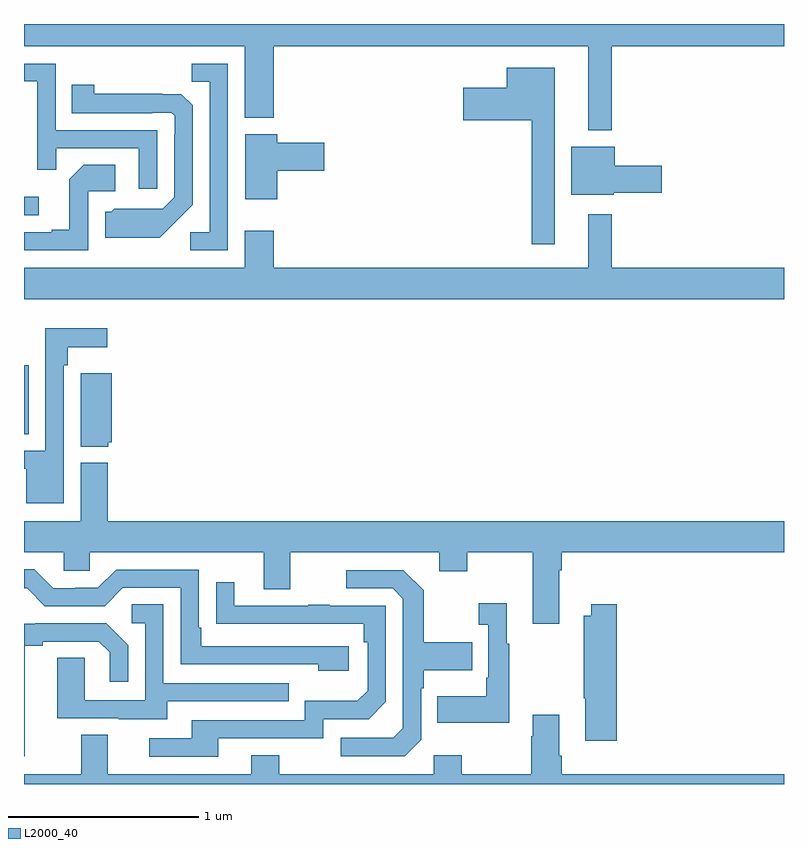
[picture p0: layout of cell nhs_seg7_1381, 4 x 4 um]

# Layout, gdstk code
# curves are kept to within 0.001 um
import gdstk
lib = gdstk.Library(unit=1e-6, precision=1e-09)
def R(c, l, rs):  # rectangles x0, y0, x1, y1
    for r in rs: c.add(gdstk.rectangle(r[:2], r[2:], *l))
def P(c, l, *ps):  # polygons
    for p in ps: c.add(gdstk.Polygon(p, *l))
L2000_40 = (2000, 40)

nhs_seg7_1381 = lib.new_cell('nhs_seg7_1381')
R(nhs_seg7_1381, L2000_40, [(205,1063.84,205.024,1064.203), (205,1064.994,205.078,1065.091)])
P(nhs_seg7_1381, L2000_40, [(208.093,1065.884),(209,1065.884),(209,1066),(205,1066),(205,1065.884),(206.162,1065.884),(206.162,1065.506),(206.315,1065.506),(206.315,1065.884),(207.971,1065.884),(207.971,1065.44),(208.093,1065.44)],
  [(205.701,1065.441),(205.167,1065.441),(205.167,1065.792),(205,1065.792),(205,1065.699),(205.071,1065.699),(205.071,1065.232),(205.169,1065.232),(205.169,1065.345),(205.605,1065.345),(205.605,1065.132),(205.701,1065.132)],
  [(206.073,1065.792),(205.882,1065.792),(205.882,1065.697),(205.977,1065.697),(205.977,1064.904),(205.875,1064.904),(205.875,1064.808),(206.073,1064.808)],
  [(207.793,1065.769),(207.542,1065.769),(207.542,1065.664),(207.312,1065.664),(207.312,1065.494),(207.672,1065.494),(207.672,1064.841),(207.793,1064.841)],
  [(205.795,1064.957),(205.887,1065.05),(205.887,1065.572),(205.828,1065.631),(205.371,1065.632),(205.371,1065.679),(205.252,1065.679),(205.252,1065.531),(205.676,1065.531),(205.676,1065.534),(205.776,1065.534),(205.794,1065.516),(205.794,1065.416),(205.791,1065.416),(205.791,1065.087),(205.731,1065.027),(205.474,1065.028),(205.458,1065.012),(205.427,1065.012),(205.427,1064.876),(205.715,1064.876)],
  [(206.332,1065.227),(206.581,1065.227),(206.581,1065.374),(206.332,1065.374),(206.332,1065.421),(206.165,1065.421),(206.165,1065.078),(206.332,1065.078)],
  [(208.104,1065.112),(208.357,1065.112),(208.357,1065.254),(208.108,1065.254),(208.108,1065.355),(207.881,1065.355),(207.881,1065.101),(208.104,1065.101)],
  [(205.338,1065.12),(205.48,1065.12),(205.48,1065.26),(205.315,1065.26),(205.239,1065.184),(205.239,1064.917),(205.145,1064.917),(205.145,1064.904),(205,1064.904),(205,1064.808),(205.338,1064.808)],
  [(209,1064.716),(208.093,1064.716),(208.093,1064.998),(207.971,1064.998),(207.971,1064.716),(206.315,1064.716),(206.315,1064.911),(206.162,1064.911),(206.162,1064.716),(205,1064.716),(205,1064.552),(209,1064.552)],
  [(205.209,1064.204),(205.229,1064.204),(205.229,1064.3),(205.438,1064.3),(205.438,1064.398),(205.113,1064.398),(205.113,1063.755),(205,1063.755),(205,1063.659),(205.013,1063.659),(205.013,1063.478),(205.209,1063.478)],
  [(205.443,1063.8),(205.462,1063.8),(205.462,1064.161),(205.298,1064.161),(205.298,1063.775),(205.443,1063.775)],
  [(207.817,1063.124),(207.83,1063.124),(207.83,1063.22),(209,1063.22),(209,1063.384),(205.442,1063.384),(205.442,1063.69),(205.298,1063.69),(205.298,1063.384),(205,1063.384),(205,1063.22),(205.209,1063.22),(205.209,1063.122),(205.347,1063.122),(205.347,1063.22),(206.261,1063.22),(206.261,1063.026),(206.401,1063.026),(206.401,1063.22),(207.185,1063.22),(207.185,1063.121),(207.333,1063.121),(207.333,1063.22),(207.677,1063.22),(207.677,1062.843),(207.817,1062.843)],
  [(206.71,1062.726),(205.933,1062.726),(205.933,1062.823),(205.92,1062.823),(205.92,1063.128),(205.485,1063.128),(205.389,1063.032),(205.271,1063.032),(205.271,1063.029),(205.155,1063.029),(205.055,1063.129),(205,1063.129),(205,1063.029),(205.017,1063.029),(205.11,1062.936),(205.425,1062.936),(205.521,1063.032),(205.824,1063.032),(205.824,1062.63),(206.549,1062.63),(206.549,1062.596),(206.71,1062.596)],
  [(207.09,1062.234),(207.09,1062.503),(207.103,1062.503),(207.103,1062.599),(207.359,1062.599),(207.359,1062.747),(207.103,1062.747),(207.103,1063.019),(206.997,1063.125),(206.697,1063.125),(206.697,1063.029),(206.94,1063.029),(206.994,1062.975),(206.994,1062.294),(206.943,1062.243),(206.667,1062.243),(206.667,1062.147),(207.003,1062.147)],
  [(206.023,1062.24),(206.574,1062.24),(206.574,1062.342),(206.814,1062.342),(206.904,1062.432),(206.904,1062.939),(206.609,1062.939),(206.609,1062.944),(206.497,1062.944),(206.497,1062.939),(206.107,1062.939),(206.107,1063.063),(206.011,1063.063),(206.011,1062.844),(206.788,1062.843),(206.788,1062.746),(206.808,1062.746),(206.808,1062.492),(206.755,1062.439),(206.478,1062.439),(206.478,1062.336),(205.883,1062.336),(205.883,1062.24),(205.659,1062.24),(205.659,1062.144),(206.023,1062.144)],
  [(207.553,1062.739),(207.541,1062.739),(207.541,1062.952),(207.393,1062.952),(207.393,1062.839),(207.444,1062.839),(207.444,1062.559),(207.432,1062.559),(207.432,1062.463),(207.175,1062.463),(207.175,1062.323),(207.553,1062.323)],
  [(205.753,1062.435),(206.393,1062.435),(206.393,1062.531),(205.734,1062.531),(205.734,1062.947),(205.566,1062.947),(205.566,1062.846),(205.638,1062.846),(205.638,1062.441),(205.32,1062.441),(205.32,1062.665),(205.175,1062.665),(205.175,1062.345),(205.499,1062.345),(205.499,1062.341),(205.753,1062.341)],
  [(208.121,1062.946),(207.986,1062.946),(207.986,1062.886),(207.946,1062.886),(207.946,1062.451),(207.953,1062.451),(207.953,1062.228),(208.121,1062.228)],
  [(205.003,1062.728),(205.099,1062.728),(205.099,1062.75),(205.394,1062.75),(205.451,1062.693),(205.451,1062.537),(205.548,1062.537),(205.548,1062.73),(205.432,1062.846),(205.06,1062.846),(205.06,1062.843),(205,1062.843),(205,1062.147),(205.003,1062.147)],
  [(209,1062.052),(207.83,1062.052),(207.83,1062.148),(207.817,1062.148),(207.817,1062.364),(207.677,1062.364),(207.677,1062.251),(207.67,1062.251),(207.67,1062.052),(207.303,1062.052),(207.303,1062.151),(207.156,1062.151),(207.156,1062.052),(206.343,1062.052),(206.343,1062.151),(206.195,1062.151),(206.195,1062.052),(205.441,1062.052),(205.441,1062.26),(205.301,1062.26),(205.301,1062.052),(205,1062.052),(205,1062),(209,1062)])

lib.write_gds('nhs_seg7_1381.gds')
